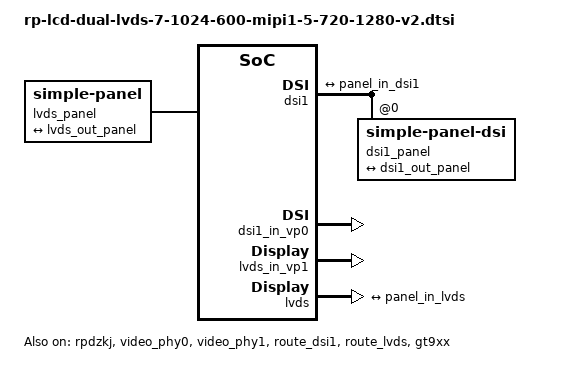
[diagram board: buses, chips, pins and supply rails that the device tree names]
#include <dt-bindings/display/media-bus-format.h>

#define RP_DUAL_LCD

&rpdzkj {
        compatible = "rp_config";
        user_version = "rpdzkj";
        system_rotate = "0";
				csi_camera_rotate = "0"; //all csi camera rotation //0 90 180 270 //no effect
				csi_camera_facing = "0"; //0:auto  1:all front   2:all back //no effect
				usb_camera_rotate = "0"; //all usb camera rotation //0 90 180 270 
				usb_camera_facing = "0"; //0:auto  1:all front   2:all back
        lcd_density = "180";
        language = "zh-CN";   //zh-CN //en-US
        time_zone = "Asia/Shanghai"; //Asia/Shanghai = +8   //Europe/London  = +1       //Africa/Casablanca     = +0;
        not_navigation_bar = "false";
        not_status_bar = "false";
        default_launcher = "true";
        has_root = "true";
        usb_not_permission = "true";
        gps_use = "false";
        gps_serial_port = "/dev/ttyS4";
        primary_device = "LVDS-1";
        extend_device = "DSI-1";
        extend_rotate = "1";
        extend_rotate_2 = "0";
        rotation_efull = "true";
        rotation_efull_2 = "false";
        home_apk = "null";
        status = "okay";
};


&lvds_panel {
	status = "okay";
	compatible = "simple-panel";
	enable-delay-ms = <20>;
	prepare-delay-ms = <20>;
	unprepare-delay-ms = <20>;
	disable-delay-ms = <20>;
	bus-format = <MEDIA_BUS_FMT_RGB888_1X7X4_JEIDA>;
	width-mm = <217>;
	height-mm = <136>;
	
		/**
		 * power-supply = <>;
		 * reset-gpios = <>;
		 *
		 * lcd reset pin and power supply
		 * please refer to ***-lcd-gpio.dtsi
		 * that included in main dts.
		 */
		 
	display-timings {
		native-mode = <&timing0>;

		timing0: timing0 {
			clock-frequency = <45000000>;
			hactive = <1024>;
			vactive = <600>;
			hback-porch = <160>;
			hfront-porch = <160>;
			vback-porch = <23>;
			vfront-porch = <12>;
			hsync-len = <20>;
			vsync-len = <3>;
			hsync-active = <0>;
			vsync-active = <0>;
			de-active = <0>;
			pixelclk-active = <0>;
		};
	};

	ports {
		#address-cells = <1>;
		#size-cells = <0>;

		port@0 {
			reg = <0>;
			dual-lvds-even-pixels;
			panel_in_lvds: endpoint {
				remote-endpoint = <&lvds_out_panel>;
			};
		};
	};
};



&dsi1 {
	status = "okay";
	//rockchip,lane-rate = <480>;
	dsi1_panel: panel@0 {

		status = "okay";
		compatible = "simple-panel-dsi";
		reg = <0>;
		reset-delay-ms = <60>;
		init-delay-ms = <60>;
		enable-delay-ms = <60>;
		prepare-delay-ms = <60>;
		unprepare-delay-ms = <60>;
		disable-delay-ms = <60>;
		dsi,flags = <(MIPI_DSI_MODE_VIDEO | MIPI_DSI_MODE_VIDEO_BURST |
			MIPI_DSI_MODE_LPM | MIPI_DSI_MODE_EOT_PACKET)>;
		dsi,format = <MIPI_DSI_FMT_RGB888>;
		dsi,lanes  = <4>;
		
		/**
		 * power-supply = <>;
		 * reset-gpios = <>;
		 *
		 * lcd reset pin and power supply
		 * please refer to ***-lcd-gpio.dtsi
		 * that included in main dts.
		 */
		
		panel-init-sequence = [
			39 00 04 B9 F1 12 83

			39 00 1C BA 33 81 05 F9 0E 0E 20 00 00 00 00 00 00 00 44 25 00 91 0A 00 00 02 4F D1 00 00 37

			39 00 02 B8 26


			39 00 04 BF 02 10 00

			39 00 0B B3 07 0B 1E 1E 03 FF 00 00 00 00


			39 00 0A C0 73 73 50 50 00 00 08 70 00

			39 00 02 BC 46

			39 00 02 CC 0B

			39 00 02 B4 80

			39 00 04 B2 C8 12 A0

			39 00 0F E3 07 07 0B 0B 03 0B 00 00 00 00 FF 80 C0 10


			39 00 0D C1 53 00 32 32 77 F1 FF FF CC CC 77 77

			39 00 03 B5 09 09

			39 00 03 B6 B7 B7

			39 00 40 E9 C2 10 0A 00 00 81 80 12 30 00 37 86 81 80 37 18 00 05 00 00 00 00 00 05 00 00 00 00 F8 BA 46 02 08 28 88 88 88 88 88 F8 BA 57 13 18 38 88 88 88 88 88 00 00 00 03 00 00 00 00 00 00 00 00 00

			39 00 3E EA 07 12 01 01 02 3C 00 00 00 00 00 00 8F BA 31 75 38 18 88 88 88 88 88 8F BA 20 64 28 08 88 88 88 88 88 23 10 00 00 04 00 00 00 00 00 00 00 00 00 00 00 00 00 00 00 00 00 00 00 00 00 00

			39 00 23 E0 00 02 04 1A 23 3F 2C 28 05 09 0B 10 11 10 12 12 19 00 02 04 1A 23 3F 2C 28 05 09 0B 10 11 10 12 12 19


			05 ff 01 11 ////Sleep Out

			05 32 01 29 ///Display On
		];
		
		panel-exit-sequence = [
			05 00 01 28
			05 78 01 10
		];

		disp_timings0: display-timings {
			native-mode = <&dsi0_timing0>;
			dsi0_timing0: timing0 {
                                clock-frequency = <60000000>;
                                hactive = <720>;
                                vactive = <1280>;
                                hback-porch = <40>;
                                hfront-porch = <40>;
                                vback-porch = <11>;
                                vfront-porch = <16>;
                                hsync-len = <10>;
                                vsync-len = <3>;
                                hsync-active = <0>;
                                vsync-active = <0>;
                                de-active = <0>;
                                pixelclk-active = <0>;
			};
		};

		ports {
			#address-cells = <1>;
			#size-cells = <0>;

			port@0 {
				reg = <0>;
				panel_in_dsi1: endpoint {
					remote-endpoint = <&dsi1_out_panel>;
				};
			};
		};
	};

	ports {
		#address-cells = <1>;
		#size-cells = <0>;

		port@1 {
			reg = <1>;
			dsi1_out_panel: endpoint {
				remote-endpoint = <&panel_in_dsi1>;
			};
		};
	};
};



&dsi0_in_vp0 {
	status = "disabled";
};

&dsi0_in_vp1 {
	status = "disabled";
};

&dsi1_in_vp0 {
	status = "okay";
};

&dsi1_in_vp1 {
	status = "disabled";
};

&lvds_in_vp1 {
	status = "okay";
};

&lvds_in_vp2 {
	status = "disabled";
};



&video_phy0 {
	status = "okay";
};

&video_phy1 {
	status = "okay";
};




&route_dsi1 {
	status = "okay";
	connect = <&vp0_out_dsi1>;
};

&route_lvds {
	status = "okay";
	connect = <&vp1_out_lvds>;
};

&lvds {
	status = "okay";

	ports {
		port@1 {
			reg = <1>;

			lvds_out_panel: endpoint {
				remote-endpoint = <&panel_in_lvds>;
			};
		};
	};
};



&gt9xx {
        status = "okay";

        compatible = "goodix,gt9xx";
        reg = <0x5d>;
        gtp_resolution_x = <1024>;
        gtp_resolution_y = <600>;
        gtp_int_tarigger = <1>;
        gtp_change_x2y = <0>;
        gtp_overturn_x = <0>;
        gtp_overturn_y = <0>;
        gtp_send_cfg = <1>;
        gtp_touch_wakeup = <1>;

		/**
		 * goodix_rst_gpio = <>;
		 * goodix_irq_gpio = <>;
		 *
		 * touch panel interrupt and reset pin
		 * please refer to ***-lcd-gpio.dtsi
		 * that included in main dts.
		 */

        goodix,cfg-group0 = [
            5A 00 04 58 02 05 3D 00 01
            08 32 0F 5A 32 03 05 00 00
            00 00 02 00 00 18 1A 1E 14
            87 29 0A 55 57 B5 06 00 00
            00 20 33 1C 14 01 00 0F 00
            2B FF 7F 19 46 32 3C 78 94
            D5 02 08 00 00 04 98 40 00
            8A 4A 00 80 55 00 77 61 00
            6F 70 00 6F 00 00 00 00 F0
            40 30 FF FF 27 00 00 00 00
            00 00 00 00 00 00 00 00 00
            00 00 00 00 00 00 00 00 00
            00 00 00 00 02 04 06 08 0A
            0C 0E 10 12 14 FF FF FF FF
            00 00 00 00 00 00 00 00 00
            00 00 00 00 00 00 00 00 02
            04 06 08 0A 0C 1D 1E 1F 20
            21 22 24 26 28 29 2A FF FF
            FF FF FF FF FF FF 00 00 00
            00 00 00 00 00 00 00 00 00
            00 00 00 00 6F 01
        ];
};




